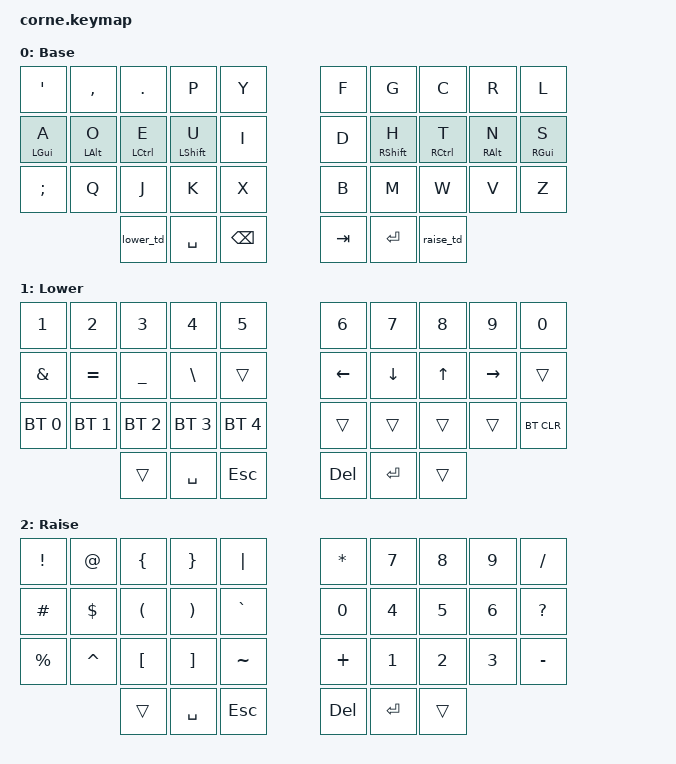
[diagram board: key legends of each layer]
/*
 * Copyright (c) 2020 The ZMK Contributors
 *
 * SPDX-License-Identifier: MIT
 */

#include <behaviors.dtsi>
#include <dt-bindings/zmk/keys.h>
#include <dt-bindings/zmk/bt.h>

// Key positions, for hold-trigger-key-positions below:
//
//   0  1  2  3  4     5  6  7  8  9
//  10 11 12 13 14    15 16 17 18 19
//  20 21 22 23 24    25 26 27 28 29
//        30 31 32    33 34 35
#define LEFT_KEYS  0 1 2 3 4 10 11 12 13 14 20 21 22 23 24
#define RIGHT_KEYS 5 6 7 8 9 15 16 17 18 19 25 26 27 28 29
#define THUMBS     30 31 32 33 34 35

/ {
        chosen {
                // This board is the 3x5+3 (five column) Corne, not the 42-key
                // six column default the shield ships with.
                zmk,physical-layout = &foostan_corne_5col_layout;
        };

        behaviors {
                // Home row mods. Tap for the letter, hold for the modifier.
                //
                // hold-trigger-key-positions limits each hand's mods to keys on
                // the OTHER hand (plus the thumbs), so same-hand rolls such as
                // a -> o can never resolve to a modifier.
                //
                // require-prior-idle-ms forces a tap outright if another key was
                // pressed in the last 150ms, which kills mid-word misfires: mods
                // only engage after you have paused.
                hml: home_row_mod_left {
                        compatible = "zmk,behavior-hold-tap";
                        #binding-cells = <2>;
                        bindings = <&kp>, <&kp>;
                        flavor = "balanced";
                        tapping-term-ms = <200>;
                        quick-tap-ms = <175>;
                        require-prior-idle-ms = <150>;
                        hold-trigger-key-positions = <RIGHT_KEYS THUMBS>;
                        hold-trigger-on-release;
                };

                hmr: home_row_mod_right {
                        compatible = "zmk,behavior-hold-tap";
                        #binding-cells = <2>;
                        bindings = <&kp>, <&kp>;
                        flavor = "balanced";
                        tapping-term-ms = <200>;
                        quick-tap-ms = <175>;
                        require-prior-idle-ms = <150>;
                        hold-trigger-key-positions = <LEFT_KEYS THUMBS>;
                        hold-trigger-on-release;
                };

                // Layer keys: hold for momentary access, double tap to lock the
                // layer on. Double tap again (the thumb key is &trans on both
                // layers, so it falls back here) to unlock.
                //
                // A hold resolves as soon as any other key is pressed, so
                // momentary access is not delayed by tapping-term-ms.
                lower_td: layer_tap_dance_lower {
                        compatible = "zmk,behavior-tap-dance";
                        #binding-cells = <0>;
                        tapping-term-ms = <200>;
                        bindings = <&mo 1>, <&tog 1>;
                };

                raise_td: layer_tap_dance_raise {
                        compatible = "zmk,behavior-tap-dance";
                        #binding-cells = <0>;
                        tapping-term-ms = <200>;
                        bindings = <&mo 2>, <&tog 2>;
                };
        };

        keymap {
                compatible = "zmk,keymap";

                default_layer {
                        display-name = "Base";
// -----------------------------------------------------------------------------
// |  '  |  ,  |  .  |  P  |  Y  |   |  F  |  G  |  C  |  R  |  L  |
// |  A  |  O  |  E  |  U  |  I  |   |  D  |  H  |  T  |  N  |  S  |
// |  ;  |  Q  |  J  |  K  |  X  |   |  B  |  M  |  W  |  V  |  Z  |
//             | LWR | SPC |BSPC |   | TAB | ENT | RSE |
//
// Home row hold:  GUI ALT CTL SFT  -  |  -  SFT CTL ALT GUI
                        bindings = <
   &kp SQT      &kp COMMA    &kp DOT       &kp P         &kp Y       &kp F     &kp G         &kp C         &kp R        &kp L
   &hml LGUI A  &hml LALT O  &hml LCTRL E  &hml LSHFT U  &kp I       &kp D     &hmr RSHFT H  &hmr RCTRL T  &hmr RALT N  &hmr RGUI S
   &kp SEMI     &kp Q        &kp J         &kp K         &kp X       &kp B     &kp M         &kp W         &kp V        &kp Z
                             &lower_td     &kp SPACE     &kp BSPC    &kp TAB   &kp RET       &raise_td
                        >;
                };

                lower_layer {
                        display-name = "Lower";
// -----------------------------------------------------------------------------
// Bluetooth lives on the bottom row, NOT the home row: on the home row a
// stray press while this layer is held or locked switches profile and drops
// the current connection. BT_CLR is further isolated on the far pinky.
// |  1  |  2  |  3  |  4  |  5  |   |  6  |  7  |  8  |  9  |  0  |
// |  &  |  =  |  _  |  \  |     |   | LFT | DWN |  UP | RGT |     |
// | BT1 | BT2 | BT3 | BT4 | BT5 |   |     |     |     |     |BTCLR|
//             |     | SPC | ESC |   | DEL | ENT |     |
                        bindings = <
   &kp N1        &kp N2       &kp N3       &kp N4       &kp N5        &kp N6     &kp N7     &kp N8   &kp N9     &kp N0
   &kp AMPS      &kp EQUAL    &kp UNDER    &kp BSLH     &trans        &kp LEFT   &kp DOWN   &kp UP   &kp RIGHT  &trans
   &bt BT_SEL 0  &bt BT_SEL 1 &bt BT_SEL 2 &bt BT_SEL 3 &bt BT_SEL 4  &trans     &trans     &trans   &trans     &bt BT_CLR
                              &trans       &kp SPACE    &kp ESC       &kp DEL    &kp RET    &trans
                        >;
                };

                raise_layer {
                        display-name = "Raise";
// Left hand mirrors the Moonlander symbol layer.
// -----------------------------------------------------------------------------
// |  !  |  @  |  {  |  }  | "|" |   |  *  |  7  |  8  |  9  |  /  |
// |  #  |  $  |  (  |  )  |  `  |   |  0  |  4  |  5  |  6  |  ?  |
// |  %  |  ^  |  [  |  ]  |  ~  |   |  +  |  1  |  2  |  3  |  -  |
//             |     | SPC | ESC |   | DEL | ENT |     |
                        bindings = <
   &kp EXCL   &kp AT     &kp LBRC &kp RBRC &kp PIPE    &kp ASTRK  &kp N7  &kp N8  &kp N9  &kp FSLH
   &kp HASH   &kp DLLR   &kp LPAR &kp RPAR &kp GRAVE   &kp N0     &kp N4  &kp N5  &kp N6  &kp QMARK
   &kp PRCNT  &kp CARET  &kp LBKT &kp RBKT &kp TILDE   &kp PLUS   &kp N1  &kp N2  &kp N3  &kp MINUS
                         &trans   &kp SPACE &kp ESC    &kp DEL    &kp RET &trans
                        >;
                };
        };
};
